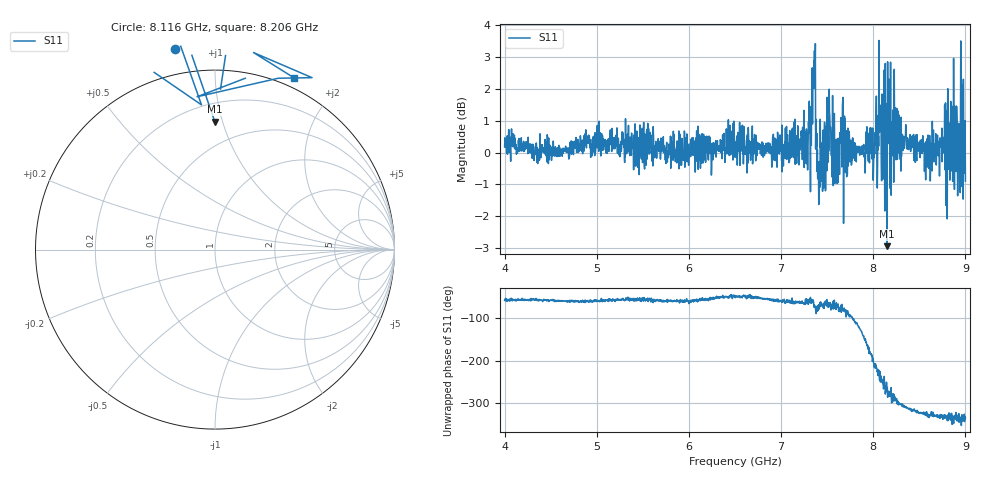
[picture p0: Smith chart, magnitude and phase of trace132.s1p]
! Created with skrf 1.8.0 (http://scikit-rf.org).
# Hz S RI R 50.0
!freq ReS11 ImS11
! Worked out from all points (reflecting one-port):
!   1601 points, 4 GHz to 9 GHz, reference 50 ohm
!   lowest |S11| = -2.9 dB at 8.15 GHz (marker M1), VSWR 5.97, Z = 16.3 + j47.2 ohm
!   phase of S11 starts at -59 deg and turns -275 deg over the sweep
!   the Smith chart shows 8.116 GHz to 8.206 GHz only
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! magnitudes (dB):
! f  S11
! 4 GHz  0.2
! 4.625 GHz  -0.1
! 5.25 GHz  -0.1
! 5.875 GHz  -0.1
! 6.5 GHz  0.2
! 7.125 GHz  0.8
! 7.294 GHz  0.6
! 7.347 GHz  2.6
! 7.369 GHz  2.6
! 7.4 GHz  -0.8
! 7.425 GHz  1.0
! 7.472 GHz  1.0
! 7.512 GHz  1.1
! 7.609 GHz  -1.0
! 7.65 GHz  1.1
! 7.703 GHz  -0.2
! 7.75 GHz  -0.1
! 8.022 GHz  0.2
! 8.088 GHz  -0.3
! 8.128 GHz  1.2
! 8.15 GHz  -2.9
! 8.375 GHz  0.4
! 8.581 GHz  -0.5
! 8.884 GHz  1.5
! 8.919 GHz  -0.6
! 8.959 GHz  2.1
! 8.972 GHz  1.0
! 9 GHz  -0.9
